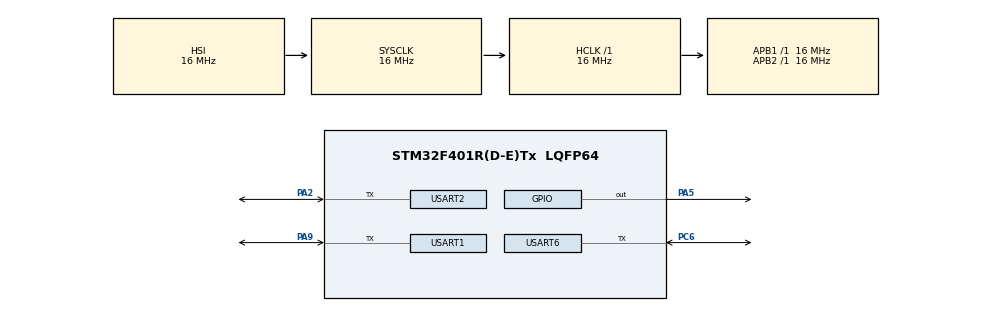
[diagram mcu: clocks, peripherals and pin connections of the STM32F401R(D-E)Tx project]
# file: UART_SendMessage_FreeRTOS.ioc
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FREERTOS.Tasks01=defaultTask,24,128,StartDefaultTask,Default,NULL,Dynamic,NULL,NULL
FREERTOS.configUSE_NEWLIB_REENTRANT=1
Mcu.Family=STM32F4
Mcu.Name=STM32F401R(D-E)Tx
Mcu.Package=LQFP64
NVIC.PriorityGroup=NVIC_PRIORITYGROUP_4
NVIC.TIM5_IRQn=true\:15\:0\:false\:false\:true\:false\:false\:true\:true
NVIC.TimeBase=TIM5_IRQn
NVIC.TimeBaseIP=TIM5
PA2.Mode=Half_duplex(single_wire_mode)
PA2.Signal=USART2_TX
PA5.Signal=GPIO_Output
PA9.Mode=Half_duplex(single_wire_mode)
PA9.Signal=USART1_TX
PC6.Mode=Half_duplex(single_wire_mode)
PC6.Signal=USART6_TX
ProjectManager.HeapSize=0x200
ProjectManager.StackSize=0x400
ProjectManager.TargetToolchain=STM32CubeIDE
RCC.AHBFreq_Value=16000000
RCC.APB1Freq_Value=16000000
RCC.APB2Freq_Value=16000000
RCC.CortexFreq_Value=16000000
RCC.HSE_VALUE=25000000
RCC.HSI_VALUE=16000000
RCC.LSE_VALUE=32768
RCC.SYSCLKFreq_VALUE=16000000
RCC.VCOOutputFreq_Value=192000000
USART1.BaudRate=9600
USART1.VirtualMode=VM_ASYNC
USART2.BaudRate=9600
USART2.VirtualMode=VM_ASYNC
USART6.BaudRate=9600
USART6.VirtualMode=VM_ASYNC
VP_FREERTOS_VS_CMSIS_V2.Mode=CMSIS_V2
VP_SYS_VS_tim5.Mode=TIM5
board=custom

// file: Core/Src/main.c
/* USER CODE BEGIN Header */
/**
  ******************************************************************************
  * @file           : main.c
  * @brief          : Main program body
  ******************************************************************************
  * @attention
  *
  * Copyright (c) 2026 STMicroelectronics.
  * All rights reserved.
  *
  * This software is licensed under terms that can be found in the LICENSE file
  * in the root directory of this software component.
  * If no LICENSE file comes with this software, it is provided AS-IS.
  *
  ******************************************************************************
  */
/* USER CODE END Header */
#include "main.h"
#include "cmsis_os.h"

/* USER CODE BEGIN Includes */
#include "string.h"
#include "semphr.h"
//#include "task.h"
/* USER CODE END Includes */

UART_HandleTypeDef huart1;
UART_HandleTypeDef huart2;
UART_HandleTypeDef huart6;

/* Definitions for defaultTask */
osThreadId_t defaultTaskHandle;
const osThreadAttr_t defaultTask_attributes = {
  .name = "defaultTask",
  .stack_size = 128 * 4,
  .priority = (osPriority_t) osPriorityNormal,
};
/* USER CODE BEGIN PV */
char msgB[] = "HELLO FROM TASK B ";
char msgC[] = "hello from task c ";
TaskHandle_t taskAHandle;
TaskHandle_t taskBHandle;
TaskHandle_t taskCHandle;

SemaphoreHandle_t xUARTMutex;

/* USER CODE END PV */

void SystemClock_Config(void);
static void MX_GPIO_Init(void);
static void MX_USART1_UART_Init(void);
static void MX_USART2_UART_Init(void);
static void MX_USART6_UART_Init(void);
void StartDefaultTask(void *argument);

/* USER CODE BEGIN PFP */
void pxTaskACode(void *argument);
void pxTaskBCode(void *argument);
void pxTaskCCode(void *argument);
/* USER CODE END PFP */

int main(void)
{

  /* MCU Configuration--------------------------------------------------------*/

  /* Reset of all peripherals, Initializes the Flash interface and the Systick. */
  HAL_Init();

  /* Configure the system clock */
  SystemClock_Config();

  /* Initialize all configured peripherals */
  MX_GPIO_Init();
  MX_USART1_UART_Init();
  MX_USART2_UART_Init();
  MX_USART6_UART_Init();

  /* Init scheduler */
  osKernelInitialize();

  /* USER CODE BEGIN RTOS_MUTEX */
  /* add mutexes, ... */
  xUARTMutex = xSemaphoreCreateMutex();
  /* USER CODE END RTOS_MUTEX */

  /* Create the thread(s) */
  /* creation of defaultTask */
  defaultTaskHandle = osThreadNew(StartDefaultTask, NULL, &defaultTask_attributes);

  /* USER CODE BEGIN RTOS_THREADS */
  /* add threads, ... */
  xTaskCreate(pxTaskACode, "TaskA", 128, NULL, osPriorityNormal, &taskAHandle);
  xTaskCreate(pxTaskBCode, "TaskB", 128, NULL, osPriorityNormal, &taskBHandle);
  xTaskCreate(pxTaskCCode, "TaskC", 128, NULL, osPriorityNormal, &taskCHandle);
  /* USER CODE END RTOS_THREADS */

  /* Start scheduler */
  osKernelStart();

  /* We should never get here as control is now taken by the scheduler */

  /* Infinite loop */
  while (1)
  {

  }
}

void SystemClock_Config(void)
{
  RCC_OscInitTypeDef RCC_OscInitStruct = {0};
  RCC_ClkInitTypeDef RCC_ClkInitStruct = {0};

  /** Configure the main internal regulator output voltage
  */
  __HAL_RCC_PWR_CLK_ENABLE();
  __HAL_PWR_VOLTAGESCALING_CONFIG(PWR_REGULATOR_VOLTAGE_SCALE2);

  /** Initializes the RCC Oscillators according to the specified parameters
  * in the RCC_OscInitTypeDef structure.
  */
  RCC_OscInitStruct.OscillatorType = RCC_OSCILLATORTYPE_HSI;
  RCC_OscInitStruct.HSIState = RCC_HSI_ON;
  RCC_OscInitStruct.HSICalibrationValue = RCC_HSICALIBRATION_DEFAULT;
  RCC_OscInitStruct.PLL.PLLState = RCC_PLL_NONE;
  if (HAL_RCC_OscConfig(&RCC_OscInitStruct) != HAL_OK)
  {
    Error_Handler();
  }

  /** Initializes the CPU, AHB and APB buses clocks
  */
  RCC_ClkInitStruct.ClockType = RCC_CLOCKTYPE_HCLK|RCC_CLOCKTYPE_SYSCLK
                              |RCC_CLOCKTYPE_PCLK1|RCC_CLOCKTYPE_PCLK2;
  RCC_ClkInitStruct.SYSCLKSource = RCC_SYSCLKSOURCE_HSI;
  RCC_ClkInitStruct.AHBCLKDivider = RCC_SYSCLK_DIV1;
  RCC_ClkInitStruct.APB1CLKDivider = RCC_HCLK_DIV1;
  RCC_ClkInitStruct.APB2CLKDivider = RCC_HCLK_DIV1;

  if (HAL_RCC_ClockConfig(&RCC_ClkInitStruct, FLASH_LATENCY_0) != HAL_OK)
  {
    Error_Handler();
  }
}

static void MX_USART1_UART_Init(void)
{

  huart1.Instance = USART1;
  huart1.Init.BaudRate = 9600;
  huart1.Init.WordLength = UART_WORDLENGTH_8B;
  huart1.Init.StopBits = UART_STOPBITS_1;
  huart1.Init.Parity = UART_PARITY_NONE;
  huart1.Init.Mode = UART_MODE_TX_RX;
  huart1.Init.HwFlowCtl = UART_HWCONTROL_NONE;
  huart1.Init.OverSampling = UART_OVERSAMPLING_16;
  if (HAL_HalfDuplex_Init(&huart1) != HAL_OK)
  {
    Error_Handler();
  }

}

static void MX_USART2_UART_Init(void)
{

  huart2.Instance = USART2;
  huart2.Init.BaudRate = 9600;
  huart2.Init.WordLength = UART_WORDLENGTH_8B;
  huart2.Init.StopBits = UART_STOPBITS_1;
  huart2.Init.Parity = UART_PARITY_NONE;
  huart2.Init.Mode = UART_MODE_TX_RX;
  huart2.Init.HwFlowCtl = UART_HWCONTROL_NONE;
  huart2.Init.OverSampling = UART_OVERSAMPLING_16;
  if (HAL_HalfDuplex_Init(&huart2) != HAL_OK)
  {
    Error_Handler();
  }

}

static void MX_USART6_UART_Init(void)
{

  huart6.Instance = USART6;
  huart6.Init.BaudRate = 9600;
  huart6.Init.WordLength = UART_WORDLENGTH_8B;
  huart6.Init.StopBits = UART_STOPBITS_1;
  huart6.Init.Parity = UART_PARITY_NONE;
  huart6.Init.Mode = UART_MODE_TX_RX;
  huart6.Init.HwFlowCtl = UART_HWCONTROL_NONE;
  huart6.Init.OverSampling = UART_OVERSAMPLING_16;
  if (HAL_HalfDuplex_Init(&huart6) != HAL_OK)
  {
    Error_Handler();
  }

}

static void MX_GPIO_Init(void)
{
  GPIO_InitTypeDef GPIO_InitStruct = {0};

  /* GPIO Ports Clock Enable */
  __HAL_RCC_GPIOA_CLK_ENABLE();
  __HAL_RCC_GPIOC_CLK_ENABLE();

  /*Configure GPIO pin Output Level */
  HAL_GPIO_WritePin(GPIOA, GPIO_PIN_5, GPIO_PIN_RESET);

  /*Configure GPIO pin : PA5 */
  GPIO_InitStruct.Pin = GPIO_PIN_5;
  GPIO_InitStruct.Mode = GPIO_MODE_OUTPUT_PP;
  GPIO_InitStruct.Pull = GPIO_NOPULL;
  GPIO_InitStruct.Speed = GPIO_SPEED_FREQ_LOW;
  HAL_GPIO_Init(GPIOA, &GPIO_InitStruct);

}

/* USER CODE BEGIN 4 */
void pxTaskACode(void *argument)
{
	for(;;)
	{
		HAL_GPIO_TogglePin(GPIOA, GPIO_PIN_5);
		vTaskDelay(pdMS_TO_TICKS(500));
	}
}

void pxTaskBCode(void *argument)
{
	for(;;)
	{
		//HAL_GPIO_TogglePin(GPIOA, GPIO_PIN_5);
		//vTaskDelay(pdMS_TO_TICKS(500));
		if(xSemaphoreTake(xUARTMutex,portMAX_DELAY) == pdTRUE)
		{
			HAL_UART_Transmit(&huart1, (uint8_t*)msgB, strlen(msgB),portMAX_DELAY);
			xSemaphoreGive(xUARTMutex);
		}

		vTaskDelay(pdMS_TO_TICKS(50));
	}
}

void pxTaskCCode(void *argument)
{
	for(;;)
	{
		//HAL_GPIO_TogglePin(GPIOA, GPIO_PIN_5);
		//vTaskDelay(pdMS_TO_TICKS(500));
		if(xSemaphoreTake(xUARTMutex,portMAX_DELAY) == pdTRUE)
		{
			HAL_UART_Transmit(&huart1, (uint8_t*)msgC, strlen(msgC),portMAX_DELAY);
			xSemaphoreGive(xUARTMutex);
		}

		vTaskDelay(pdMS_TO_TICKS(50));
	}
}

/* USER CODE END 4 */

void StartDefaultTask(void *argument)
{
  for(;;)
  {
    osDelay(1);
  }
}

void HAL_TIM_PeriodElapsedCallback(TIM_HandleTypeDef *htim)
{
  if (htim->Instance == TIM5)
  {
    HAL_IncTick();
  }
}

void Error_Handler(void)
{
  __disable_irq();
  while (1)
  {
  }
}
